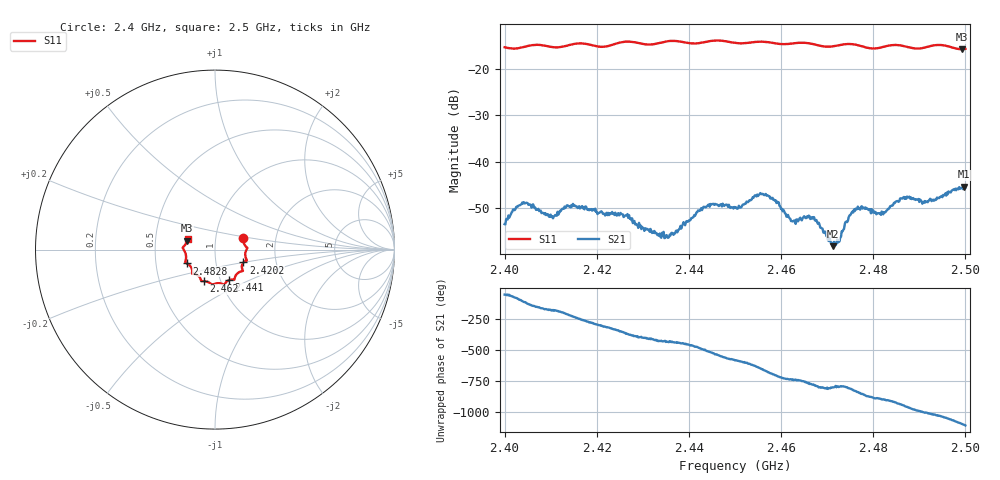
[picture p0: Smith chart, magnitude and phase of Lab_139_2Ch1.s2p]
# Hz S RI R 50
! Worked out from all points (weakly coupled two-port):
!   601 points, 2.4 GHz to 2.5 GHz, reference 50 ohm
!   highest |S21| = -45.35 dB at 2.4997 GHz (marker M1); lowest = -58.2 dB at 2.4712 GHz (marker M2)
!   lowest |S11| = -15.8 dB at 2.4992 GHz (marker M3), VSWR 1.39, Z = 36.4 + j3.68 ohm
!   |S11| at or under -10 dB: start of sweep to end of sweep
!   S12 and S22 are empty: the file has one direction only
!   S11 on the Smith chart (normalised r, x): 2.4 GHz: 1.36, +0.18; 2.4202 GHz: 1.36, -0.20; 2.441 GHz: 1.10, -0.39; 2.462 GHz: 0.84, -0.30; 2.4828 GHz: 0.72, -0.11; 2.5 GHz: 0.73, +0.09
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2.4e9  0.1583 0.0626  0.00123 -0.00175  0 0  0 0
2.404333e9  0.1715 0.0179  -0.00153 -0.00321  0 0  0 0
2.410167e9  0.1716 -0.00801  -0.00254 0.000139  0 0  0 0
2.416667e9  0.1774 -0.0606  -0.000828 0.00319  0 0  0 0
2.420167e9  0.1585 -0.0714  0.00122 0.00245  0 0  0 0
2.4265e9  0.1564 -0.1182  0.00262 -0.000382  0 0  0 0
2.433333e9  0.1119 -0.1511  0.000582 -0.00154  0 0  0 0
2.435833e9  0.1094 -0.1662  0.000582 -0.00154  0 0  0 0
2.441e9  0.0786 -0.1698  -0.000823 -0.00241  0 0  0 0
2.445167e9  0.0522 -0.1935  -0.0034 -0.000881  0 0  0 0
2.45e9  0.0284 -0.1877  -0.00231 0.00222  0 0  0 0
2.456167e9  -0.0165 -0.1946  0.00229 0.00382  0 0  0 0
2.462e9  -0.0603 -0.176  0.00234 -0.000664  0 0  0 0
2.466667e9  -0.0788 -0.1681  0.00136 -0.00213  0 0  0 0
2.471167e9  -0.1061 -0.138  0.000184 -0.00122  0 0  0 0
2.476333e9  -0.127 -0.1289  -0.00119 -0.00283  0 0  0 0
2.482833e9  -0.1574 -0.0769  -0.00295 0.000259  0 0  0 0
2.483333e9  -0.1605 -0.0755  -0.00308 0.000335  0 0  0 0
2.486333e9  -0.1644 -0.065  -0.00295 0.00274  0 0  0 0
2.499167e9  -0.1548 0.0491  0.00509 -0.00128  0 0  0 0
2.499667e9  -0.1531 0.0561  0.00504 -0.00196  0 0  0 0
2.5e9  -0.1521 0.0607  0.00465 -0.00239  0 0  0 0
